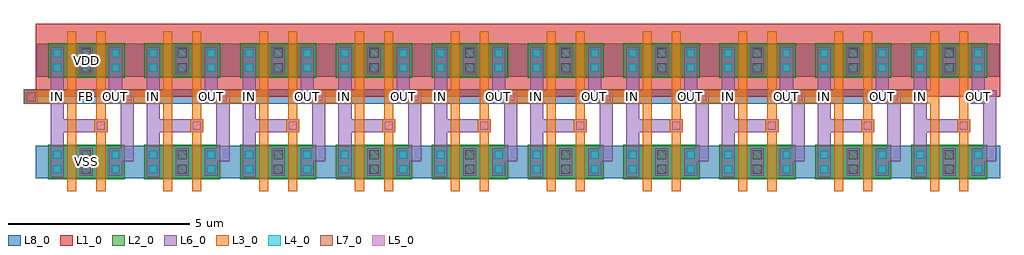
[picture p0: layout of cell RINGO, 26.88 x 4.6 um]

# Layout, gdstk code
import gdstk
lib = gdstk.Library(unit=1e-6, precision=1e-09)
def R(c, l, rs):  # rectangles x0, y0, x1, y1
    for r in rs: c.add(gdstk.rectangle(r[:2], r[2:], *l))
def A(c, l, x, y, w, h, nx, ny, dx, dy):  # array of equal rectangles
    R(c, l, [(x+i*dx, y+j*dy, x+i*dx+w, y+j*dy+h) for i in range(nx) for j in range(ny)])
L1_0 = (1, 0)
L2_0 = (2, 0)
L3_0 = (3, 0)
L4_0 = (4, 0)
L5_0 = (5, 0)
L6_0 = (6, 0)
L7_0 = (7, 0)
L8_0 = (8, 0)

ringo = lib.new_cell('RINGO')
A(ringo, L1_0, -1.4, 1.8, 2.8, 2, 10, 1, 2.64, 0)
R(ringo, L2_0, [(-1.05,-0.475,0.25,0.475), (-0.25,-0.475,1.05,0.475), (1.59,-0.475,2.89,0.475), (2.39,-0.475,3.69,0.475), (4.23,-0.475,5.53,0.475), (5.03,-0.475,6.33,0.475), (6.87,-0.475,8.17,0.475), (7.67,-0.475,8.97,0.475), (9.51,-0.475,10.81,0.475), (10.31,-0.475,11.61,0.475), (12.15,-0.475,13.45,0.475), (12.95,-0.475,14.25,0.475), (14.79,-0.475,16.09,0.475), (15.59,-0.475,16.89,0.475), (17.43,-0.475,18.73,0.475), (18.23,-0.475,19.53,0.475), (20.07,-0.475,21.37,0.475), (20.87,-0.475,22.17,0.475), (22.71,-0.475,24.01,0.475), (23.51,-0.475,24.81,0.475), (-1.05,2.325,0.25,3.275), (-0.25,2.325,1.05,3.275), (1.59,2.325,2.89,3.275), (2.39,2.325,3.69,3.275), (4.23,2.325,5.53,3.275), (5.03,2.325,6.33,3.275), (6.87,2.325,8.17,3.275), (7.67,2.325,8.97,3.275), (9.51,2.325,10.81,3.275), (10.31,2.325,11.61,3.275), (12.15,2.325,13.45,3.275), (12.95,2.325,14.25,3.275), (14.79,2.325,16.09,3.275), (15.59,2.325,16.89,3.275), (17.43,2.325,18.73,3.275), (18.23,2.325,19.53,3.275), (20.07,2.325,21.37,3.275), (20.87,2.325,22.17,3.275), (22.71,2.325,24.01,3.275), (23.51,2.325,24.81,3.275)])
A(ringo, L3_0, 0.22, 0.82, 0.36, 0.36, 10, 1, 2.64, 0)
A(ringo, L3_0, -1.7, 1.62, 1.3, 0.36, 10, 1, 2.64, 0)
R(ringo, L3_0, [(-0.525,-0.25,-0.275,2.25), (0.275,-0.25,0.525,2.25), (2.115,-0.25,2.365,2.25), (2.915,-0.25,3.165,2.25), (4.755,-0.25,5.005,2.25), (5.555,-0.25,5.805,2.25), (7.395,-0.25,7.645,2.25), (8.195,-0.25,8.445,2.25), (10.035,-0.25,10.285,2.25), (10.835,-0.25,11.085,2.25), (12.675,-0.25,12.925,2.25), (13.475,-0.25,13.725,2.25), (15.315,-0.25,15.565,2.25), (16.115,-0.25,16.365,2.25), (17.955,-0.25,18.205,2.25), (18.755,-0.25,19.005,2.25), (20.595,-0.25,20.845,2.25), (21.395,-0.25,21.645,2.25), (23.235,-0.25,23.485,2.25), (24.035,-0.25,24.285,2.25)])
R(ringo, L4_0, [(-0.91,-0.31,-0.69,-0.09), (-0.11,-0.31,0.11,-0.09), (-0.11,-0.31,0.11,-0.09), (0.69,-0.31,0.91,-0.09), (1.73,-0.31,1.95,-0.09), (2.53,-0.31,2.75,-0.09), (2.53,-0.31,2.75,-0.09), (3.33,-0.31,3.55,-0.09), (4.37,-0.31,4.59,-0.09), (5.17,-0.31,5.39,-0.09), (5.17,-0.31,5.39,-0.09), (5.97,-0.31,6.19,-0.09), (7.01,-0.31,7.23,-0.09), (7.81,-0.31,8.03,-0.09), (7.81,-0.31,8.03,-0.09), (8.61,-0.31,8.83,-0.09), (9.65,-0.31,9.87,-0.09), (10.45,-0.31,10.67,-0.09), (10.45,-0.31,10.67,-0.09), (11.25,-0.31,11.47,-0.09), (12.29,-0.31,12.51,-0.09), (13.09,-0.31,13.31,-0.09), (13.09,-0.31,13.31,-0.09), (13.89,-0.31,14.11,-0.09), (14.93,-0.31,15.15,-0.09), (15.73,-0.31,15.95,-0.09), (15.73,-0.31,15.95,-0.09), (16.53,-0.31,16.75,-0.09), (17.57,-0.31,17.79,-0.09), (18.37,-0.31,18.59,-0.09), (18.37,-0.31,18.59,-0.09), (19.17,-0.31,19.39,-0.09), (20.21,-0.31,20.43,-0.09), (21.01,-0.31,21.23,-0.09), (21.01,-0.31,21.23,-0.09), (21.81,-0.31,22.03,-0.09), (22.85,-0.31,23.07,-0.09), (23.65,-0.31,23.87,-0.09), (23.65,-0.31,23.87,-0.09), (24.45,-0.31,24.67,-0.09), (-0.91,0.09,-0.69,0.31), (-0.11,0.09,0.11,0.31), (-0.11,0.09,0.11,0.31), (0.69,0.09,0.91,0.31), (1.73,0.09,1.95,0.31), (2.53,0.09,2.75,0.31), (2.53,0.09,2.75,0.31), (3.33,0.09,3.55,0.31), (4.37,0.09,4.59,0.31), (5.17,0.09,5.39,0.31), (5.17,0.09,5.39,0.31), (5.97,0.09,6.19,0.31), (7.01,0.09,7.23,0.31), (7.81,0.09,8.03,0.31), (7.81,0.09,8.03,0.31), (8.61,0.09,8.83,0.31), (9.65,0.09,9.87,0.31), (10.45,0.09,10.67,0.31), (10.45,0.09,10.67,0.31), (11.25,0.09,11.47,0.31), (12.29,0.09,12.51,0.31), (13.09,0.09,13.31,0.31), (13.09,0.09,13.31,0.31), (13.89,0.09,14.11,0.31), (14.93,0.09,15.15,0.31), (15.73,0.09,15.95,0.31), (15.73,0.09,15.95,0.31), (16.53,0.09,16.75,0.31), (17.57,0.09,17.79,0.31), (18.37,0.09,18.59,0.31), (18.37,0.09,18.59,0.31), (19.17,0.09,19.39,0.31), (20.21,0.09,20.43,0.31), (21.01,0.09,21.23,0.31), (21.01,0.09,21.23,0.31), (21.81,0.09,22.03,0.31), (22.85,0.09,23.07,0.31), (23.65,0.09,23.87,0.31), (23.65,0.09,23.87,0.31), (24.45,0.09,24.67,0.31), (-0.91,2.49,-0.69,2.71), (-0.11,2.49,0.11,2.71), (-0.11,2.49,0.11,2.71), (0.69,2.49,0.91,2.71), (1.73,2.49,1.95,2.71), (2.53,2.49,2.75,2.71), (2.53,2.49,2.75,2.71), (3.33,2.49,3.55,2.71), (4.37,2.49,4.59,2.71), (5.17,2.49,5.39,2.71), (5.17,2.49,5.39,2.71), (5.97,2.49,6.19,2.71), (7.01,2.49,7.23,2.71), (7.81,2.49,8.03,2.71), (7.81,2.49,8.03,2.71), (8.61,2.49,8.83,2.71), (9.65,2.49,9.87,2.71), (10.45,2.49,10.67,2.71), (10.45,2.49,10.67,2.71), (11.25,2.49,11.47,2.71), (12.29,2.49,12.51,2.71), (13.09,2.49,13.31,2.71), (13.09,2.49,13.31,2.71), (13.89,2.49,14.11,2.71), (14.93,2.49,15.15,2.71), (15.73,2.49,15.95,2.71), (15.73,2.49,15.95,2.71), (16.53,2.49,16.75,2.71), (17.57,2.49,17.79,2.71), (18.37,2.49,18.59,2.71), (18.37,2.49,18.59,2.71), (19.17,2.49,19.39,2.71), (20.21,2.49,20.43,2.71), (21.01,2.49,21.23,2.71), (21.01,2.49,21.23,2.71), (21.81,2.49,22.03,2.71), (22.85,2.49,23.07,2.71), (23.65,2.49,23.87,2.71), (23.65,2.49,23.87,2.71), (24.45,2.49,24.67,2.71), (-0.91,2.89,-0.69,3.11), (-0.11,2.89,0.11,3.11), (-0.11,2.89,0.11,3.11), (0.69,2.89,0.91,3.11), (1.73,2.89,1.95,3.11), (2.53,2.89,2.75,3.11), (2.53,2.89,2.75,3.11), (3.33,2.89,3.55,3.11), (4.37,2.89,4.59,3.11), (5.17,2.89,5.39,3.11), (5.17,2.89,5.39,3.11), (5.97,2.89,6.19,3.11), (7.01,2.89,7.23,3.11), (7.81,2.89,8.03,3.11), (7.81,2.89,8.03,3.11), (8.61,2.89,8.83,3.11), (9.65,2.89,9.87,3.11), (10.45,2.89,10.67,3.11), (10.45,2.89,10.67,3.11), (11.25,2.89,11.47,3.11), (12.29,2.89,12.51,3.11), (13.09,2.89,13.31,3.11), (13.09,2.89,13.31,3.11), (13.89,2.89,14.11,3.11), (14.93,2.89,15.15,3.11), (15.73,2.89,15.95,3.11), (15.73,2.89,15.95,3.11), (16.53,2.89,16.75,3.11), (17.57,2.89,17.79,3.11), (18.37,2.89,18.59,3.11), (18.37,2.89,18.59,3.11), (19.17,2.89,19.39,3.11), (20.21,2.89,20.43,3.11), (21.01,2.89,21.23,3.11), (21.01,2.89,21.23,3.11), (21.81,2.89,22.03,3.11), (22.85,2.89,23.07,3.11), (23.65,2.89,23.87,3.11), (23.65,2.89,23.87,3.11), (24.45,2.89,24.67,3.11)])
A(ringo, L5_0, 0.29, 0.89, 0.22, 0.22, 10, 1, 2.64, 0)
A(ringo, L5_0, -1.63, 1.69, 0.22, 0.22, 10, 1, 2.64, 0)
A(ringo, L6_0, -0.98, -0.42, 0.36, 2.84, 10, 1, 2.64, 0)
A(ringo, L6_0, -0.8, 0.82, 1.38, 0.36, 10, 1, 2.64, 0)
R(ringo, L6_0, [(-0.98,-0.38,-0.62,0.38), (-0.18,-0.38,0.18,0.38), (-0.18,-0.38,0.18,0.38), (0.62,-0.38,0.98,0.38), (1.66,-0.38,2.02,0.38), (2.46,-0.38,2.82,0.38), (2.46,-0.38,2.82,0.38), (3.26,-0.38,3.62,0.38), (4.3,-0.38,4.66,0.38), (5.1,-0.38,5.46,0.38), (5.1,-0.38,5.46,0.38), (5.9,-0.38,6.26,0.38), (6.94,-0.38,7.3,0.38), (7.74,-0.38,8.1,0.38), (7.74,-0.38,8.1,0.38), (8.54,-0.38,8.9,0.38), (9.58,-0.38,9.94,0.38), (10.38,-0.38,10.74,0.38), (10.38,-0.38,10.74,0.38), (11.18,-0.38,11.54,0.38), (12.22,-0.38,12.58,0.38), (13.02,-0.38,13.38,0.38), (13.02,-0.38,13.38,0.38), (13.82,-0.38,14.18,0.38), (14.86,-0.38,15.22,0.38), (15.66,-0.38,16.02,0.38), (15.66,-0.38,16.02,0.38), (16.46,-0.38,16.82,0.38), (17.5,-0.38,17.86,0.38), (18.3,-0.38,18.66,0.38), (18.3,-0.38,18.66,0.38), (19.1,-0.38,19.46,0.38), (20.14,-0.38,20.5,0.38), (20.94,-0.38,21.3,0.38), (20.94,-0.38,21.3,0.38), (21.74,-0.38,22.1,0.38), (22.78,-0.38,23.14,0.38), (23.58,-0.38,23.94,0.38), (23.58,-0.38,23.94,0.38), (24.38,-0.38,24.74,0.38), (-1.7,1.62,-1.34,1.98), (-0.98,2.42,-0.62,3.18), (-0.18,2.42,0.18,3.18), (-0.18,2.42,0.18,3.18), (0.62,2.42,0.98,3.18), (1.66,2.42,2.02,3.18), (2.46,2.42,2.82,3.18), (2.46,2.42,2.82,3.18), (3.26,2.42,3.62,3.18), (4.3,2.42,4.66,3.18), (5.1,2.42,5.46,3.18), (5.1,2.42,5.46,3.18), (5.9,2.42,6.26,3.18), (6.94,2.42,7.3,3.18), (7.74,2.42,8.1,3.18), (7.74,2.42,8.1,3.18), (8.54,2.42,8.9,3.18), (9.58,2.42,9.94,3.18), (10.38,2.42,10.74,3.18), (10.38,2.42,10.74,3.18), (11.18,2.42,11.54,3.18), (12.22,2.42,12.58,3.18), (13.02,2.42,13.38,3.18), (13.02,2.42,13.38,3.18), (13.82,2.42,14.18,3.18), (14.86,2.42,15.22,3.18), (15.66,2.42,16.02,3.18), (15.66,2.42,16.02,3.18), (16.46,2.42,16.82,3.18), (17.5,2.42,17.86,3.18), (18.3,2.42,18.66,3.18), (18.3,2.42,18.66,3.18), (19.1,2.42,19.46,3.18), (20.14,2.42,20.5,3.18), (20.94,2.42,21.3,3.18), (20.94,2.42,21.3,3.18), (21.74,2.42,22.1,3.18), (22.78,2.42,23.14,3.18), (23.58,2.42,23.94,3.18), (23.58,2.42,23.94,3.18), (24.38,2.42,24.74,3.18)])
A(ringo, L7_0, -0.125, -0.325, 0.25, 0.25, 10, 2, 2.64, 0.4)
A(ringo, L7_0, -0.125, 2.475, 0.25, 0.25, 10, 2, 2.64, 0.4)
R(ringo, L7_0, [(-1.645,1.675,-1.395,1.925), (22.835,1.675,23.085,1.925), (24.435,1.675,24.685,1.925)])
A(ringo, L8_0, -1.4, -0.45, 2.8, 0.9, 10, 2, 2.64, 2.8)
R(ringo, L8_0, [(-1.72,1.6,23.16,2), (24.36,1.6,24.76,2)])
ringo.add(gdstk.FlexPath([(0.8,0.2),(1.12,0.2),(1.12,1.8),(0.8,1.8),(0.8,2.42)], 0.36, ends="flush", simple_path=True, layer=6, datatype=0))  # L6_0
ringo.add(gdstk.FlexPath([(3.44,0.2),(3.76,0.2),(3.76,1.8),(3.44,1.8),(3.44,2.42)], 0.36, ends="flush", simple_path=True, layer=6, datatype=0))  # L6_0
ringo.add(gdstk.FlexPath([(6.08,0.2),(6.4,0.2),(6.4,1.8),(6.08,1.8),(6.08,2.42)], 0.36, ends="flush", simple_path=True, layer=6, datatype=0))  # L6_0
ringo.add(gdstk.FlexPath([(8.72,0.2),(9.04,0.2),(9.04,1.8),(8.72,1.8),(8.72,2.42)], 0.36, ends="flush", simple_path=True, layer=6, datatype=0))  # L6_0
ringo.add(gdstk.FlexPath([(11.36,0.2),(11.68,0.2),(11.68,1.8),(11.36,1.8),(11.36,2.42)], 0.36, ends="flush", simple_path=True, layer=6, datatype=0))  # L6_0
ringo.add(gdstk.FlexPath([(14,0.2),(14.32,0.2),(14.32,1.8),(14,1.8),(14,2.42)], 0.36, ends="flush", simple_path=True, layer=6, datatype=0))  # L6_0
ringo.add(gdstk.FlexPath([(16.64,0.2),(16.96,0.2),(16.96,1.8),(16.64,1.8),(16.64,2.42)], 0.36, ends="flush", simple_path=True, layer=6, datatype=0))  # L6_0
ringo.add(gdstk.FlexPath([(19.28,0.2),(19.6,0.2),(19.6,1.8),(19.28,1.8),(19.28,2.42)], 0.36, ends="flush", simple_path=True, layer=6, datatype=0))  # L6_0
ringo.add(gdstk.FlexPath([(21.92,0.2),(22.24,0.2),(22.24,1.8),(21.92,1.8),(21.92,2.42)], 0.36, ends="flush", simple_path=True, layer=6, datatype=0))  # L6_0
ringo.add(gdstk.FlexPath([(24.56,0.2),(24.88,0.2),(24.88,1.8),(24.56,1.8),(24.56,2.42)], 0.36, ends="flush", simple_path=True, layer=6, datatype=0))  # L6_0
ringo.add(gdstk.FlexPath([(-0.4,-0.8),(-0.4,0.8)], 0.25, ends="flush", simple_path=True, layer=3, datatype=0))  # L3_0
ringo.add(gdstk.FlexPath([(-0.4,2),(-0.4,3.6)], 0.25, ends="flush", simple_path=True, layer=3, datatype=0))  # L3_0
ringo.add(gdstk.FlexPath([(0.4,0.8),(0.4,-0.8)], 0.25, ends="flush", simple_path=True, layer=3, datatype=0))  # L3_0
ringo.add(gdstk.FlexPath([(0.4,3.6),(0.4,2)], 0.25, ends="flush", simple_path=True, layer=3, datatype=0))  # L3_0
ringo.add(gdstk.FlexPath([(2.24,-0.8),(2.24,0.8)], 0.25, ends="flush", simple_path=True, layer=3, datatype=0))  # L3_0
ringo.add(gdstk.FlexPath([(2.24,2),(2.24,3.6)], 0.25, ends="flush", simple_path=True, layer=3, datatype=0))  # L3_0
ringo.add(gdstk.FlexPath([(3.04,0.8),(3.04,-0.8)], 0.25, ends="flush", simple_path=True, layer=3, datatype=0))  # L3_0
ringo.add(gdstk.FlexPath([(3.04,3.6),(3.04,2)], 0.25, ends="flush", simple_path=True, layer=3, datatype=0))  # L3_0
ringo.add(gdstk.FlexPath([(4.88,-0.8),(4.88,0.8)], 0.25, ends="flush", simple_path=True, layer=3, datatype=0))  # L3_0
ringo.add(gdstk.FlexPath([(4.88,2),(4.88,3.6)], 0.25, ends="flush", simple_path=True, layer=3, datatype=0))  # L3_0
ringo.add(gdstk.FlexPath([(5.68,0.8),(5.68,-0.8)], 0.25, ends="flush", simple_path=True, layer=3, datatype=0))  # L3_0
ringo.add(gdstk.FlexPath([(5.68,3.6),(5.68,2)], 0.25, ends="flush", simple_path=True, layer=3, datatype=0))  # L3_0
ringo.add(gdstk.FlexPath([(7.52,-0.8),(7.52,0.8)], 0.25, ends="flush", simple_path=True, layer=3, datatype=0))  # L3_0
ringo.add(gdstk.FlexPath([(7.52,2),(7.52,3.6)], 0.25, ends="flush", simple_path=True, layer=3, datatype=0))  # L3_0
ringo.add(gdstk.FlexPath([(8.32,0.8),(8.32,-0.8)], 0.25, ends="flush", simple_path=True, layer=3, datatype=0))  # L3_0
ringo.add(gdstk.FlexPath([(8.32,3.6),(8.32,2)], 0.25, ends="flush", simple_path=True, layer=3, datatype=0))  # L3_0
ringo.add(gdstk.FlexPath([(10.16,-0.8),(10.16,0.8)], 0.25, ends="flush", simple_path=True, layer=3, datatype=0))  # L3_0
ringo.add(gdstk.FlexPath([(10.16,2),(10.16,3.6)], 0.25, ends="flush", simple_path=True, layer=3, datatype=0))  # L3_0
ringo.add(gdstk.FlexPath([(10.96,0.8),(10.96,-0.8)], 0.25, ends="flush", simple_path=True, layer=3, datatype=0))  # L3_0
ringo.add(gdstk.FlexPath([(10.96,3.6),(10.96,2)], 0.25, ends="flush", simple_path=True, layer=3, datatype=0))  # L3_0
ringo.add(gdstk.FlexPath([(12.8,-0.8),(12.8,0.8)], 0.25, ends="flush", simple_path=True, layer=3, datatype=0))  # L3_0
ringo.add(gdstk.FlexPath([(12.8,2),(12.8,3.6)], 0.25, ends="flush", simple_path=True, layer=3, datatype=0))  # L3_0
ringo.add(gdstk.FlexPath([(13.6,0.8),(13.6,-0.8)], 0.25, ends="flush", simple_path=True, layer=3, datatype=0))  # L3_0
ringo.add(gdstk.FlexPath([(13.6,3.6),(13.6,2)], 0.25, ends="flush", simple_path=True, layer=3, datatype=0))  # L3_0
ringo.add(gdstk.FlexPath([(15.44,-0.8),(15.44,0.8)], 0.25, ends="flush", simple_path=True, layer=3, datatype=0))  # L3_0
ringo.add(gdstk.FlexPath([(15.44,2),(15.44,3.6)], 0.25, ends="flush", simple_path=True, layer=3, datatype=0))  # L3_0
ringo.add(gdstk.FlexPath([(16.24,0.8),(16.24,-0.8)], 0.25, ends="flush", simple_path=True, layer=3, datatype=0))  # L3_0
ringo.add(gdstk.FlexPath([(16.24,3.6),(16.24,2)], 0.25, ends="flush", simple_path=True, layer=3, datatype=0))  # L3_0
ringo.add(gdstk.FlexPath([(18.08,-0.8),(18.08,0.8)], 0.25, ends="flush", simple_path=True, layer=3, datatype=0))  # L3_0
ringo.add(gdstk.FlexPath([(18.08,2),(18.08,3.6)], 0.25, ends="flush", simple_path=True, layer=3, datatype=0))  # L3_0
ringo.add(gdstk.FlexPath([(18.88,0.8),(18.88,-0.8)], 0.25, ends="flush", simple_path=True, layer=3, datatype=0))  # L3_0
ringo.add(gdstk.FlexPath([(18.88,3.6),(18.88,2)], 0.25, ends="flush", simple_path=True, layer=3, datatype=0))  # L3_0
ringo.add(gdstk.FlexPath([(20.72,-0.8),(20.72,0.8)], 0.25, ends="flush", simple_path=True, layer=3, datatype=0))  # L3_0
ringo.add(gdstk.FlexPath([(20.72,2),(20.72,3.6)], 0.25, ends="flush", simple_path=True, layer=3, datatype=0))  # L3_0
ringo.add(gdstk.FlexPath([(21.52,0.8),(21.52,-0.8)], 0.25, ends="flush", simple_path=True, layer=3, datatype=0))  # L3_0
ringo.add(gdstk.FlexPath([(21.52,3.6),(21.52,2)], 0.25, ends="flush", simple_path=True, layer=3, datatype=0))  # L3_0
ringo.add(gdstk.FlexPath([(23.36,-0.8),(23.36,0.8)], 0.25, ends="flush", simple_path=True, layer=3, datatype=0))  # L3_0
ringo.add(gdstk.FlexPath([(23.36,2),(23.36,3.6)], 0.25, ends="flush", simple_path=True, layer=3, datatype=0))  # L3_0
ringo.add(gdstk.FlexPath([(24.16,0.8),(24.16,-0.8)], 0.25, ends="flush", simple_path=True, layer=3, datatype=0))  # L3_0
ringo.add(gdstk.FlexPath([(24.16,3.6),(24.16,2)], 0.25, ends="flush", simple_path=True, layer=3, datatype=0))  # L3_0
ringo.add(gdstk.Label('IN', (-0.8,1.8), layer=3, texttype=1))
ringo.add(gdstk.Label('IN', (1.84,1.8), layer=3, texttype=1))
ringo.add(gdstk.Label('IN', (4.48,1.8), layer=3, texttype=1))
ringo.add(gdstk.Label('IN', (7.12,1.8), layer=3, texttype=1))
ringo.add(gdstk.Label('IN', (9.76,1.8), layer=3, texttype=1))
ringo.add(gdstk.Label('IN', (12.4,1.8), layer=3, texttype=1))
ringo.add(gdstk.Label('IN', (15.04,1.8), layer=3, texttype=1))
ringo.add(gdstk.Label('IN', (17.68,1.8), layer=3, texttype=1))
ringo.add(gdstk.Label('IN', (20.32,1.8), layer=3, texttype=1))
ringo.add(gdstk.Label('IN', (22.96,1.8), layer=3, texttype=1))
ringo.add(gdstk.Label('OUT', (0.8,1.8), layer=6, texttype=1))
ringo.add(gdstk.Label('OUT', (3.44,1.8), layer=6, texttype=1))
ringo.add(gdstk.Label('OUT', (6.08,1.8), layer=6, texttype=1))
ringo.add(gdstk.Label('OUT', (8.72,1.8), layer=6, texttype=1))
ringo.add(gdstk.Label('OUT', (11.36,1.8), layer=6, texttype=1))
ringo.add(gdstk.Label('OUT', (14,1.8), layer=6, texttype=1))
ringo.add(gdstk.Label('OUT', (16.64,1.8), layer=6, texttype=1))
ringo.add(gdstk.Label('OUT', (19.28,1.8), layer=6, texttype=1))
ringo.add(gdstk.Label('OUT', (21.92,1.8), layer=6, texttype=1))
ringo.add(gdstk.Label('OUT', (24.56,1.8), layer=6, texttype=1))
ringo.add(gdstk.Label('OSC', (24.56,1.8), layer=8, texttype=1))
ringo.add(gdstk.Label('FB', (0,1.8), layer=8, texttype=1))
ringo.add(gdstk.Label('VSS', (0,0), layer=8, texttype=1))
ringo.add(gdstk.Label('VDD', (0,2.8), layer=8, texttype=1))

lib.write_gds('RINGO.gds')
